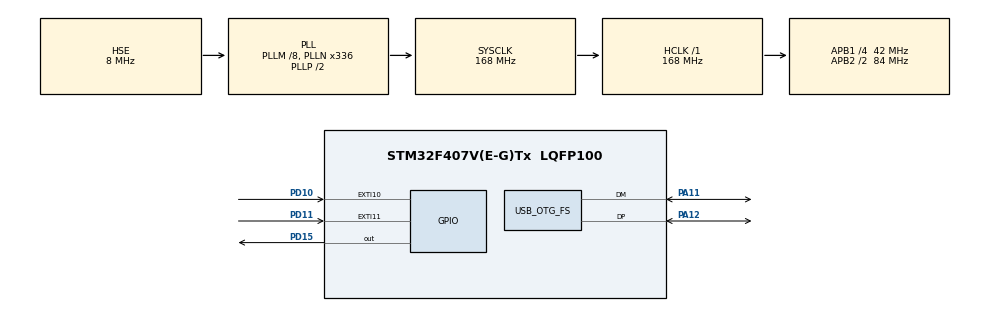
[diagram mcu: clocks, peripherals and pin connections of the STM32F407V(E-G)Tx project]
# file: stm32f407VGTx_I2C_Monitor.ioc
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FREERTOS.Tasks01=defaultTask,0,128,StartDefaultTask,Default,NULL
Mcu.Family=STM32F4
Mcu.Name=STM32F407V(E-G)Tx
Mcu.Package=LQFP100
NVIC.EXTI15_10_IRQn=true\:5\:0\:false\:false\:true\:true\:true\:true
NVIC.OTG_FS_IRQn=true\:5\:0\:false\:false\:true\:true\:false\:true
NVIC.PriorityGroup=NVIC_PRIORITYGROUP_4
NVIC.TIM6_DAC_IRQn=true\:0\:0\:false\:false\:true\:false\:false\:true
NVIC.TimeBase=TIM6_DAC_IRQn
NVIC.TimeBaseIP=TIM6
PA11.Mode=Device_Only
PA11.Signal=USB_OTG_FS_DM
PA12.Mode=Device_Only
PA12.Signal=USB_OTG_FS_DP
PD10.GPIO_ModeDefaultEXTI=GPIO_MODE_IT_RISING_FALLING
PD10.Signal=GPXTI10
PD11.GPIO_ModeDefaultEXTI=GPIO_MODE_IT_RISING
PD11.GPIO_PuPd=GPIO_NOPULL
PD11.Signal=GPXTI11
PD15.Signal=GPIO_Output
PH0-OSC_IN.Mode=HSE-External-Oscillator
PH0-OSC_IN.Signal=RCC_OSC_IN
PH1-OSC_OUT.Mode=HSE-External-Oscillator
PH1-OSC_OUT.Signal=RCC_OSC_OUT
ProjectManager.HeapSize=0x200
ProjectManager.StackSize=0x400
ProjectManager.TargetToolchain=TrueSTUDIO
RCC.48MHZClocksFreq_Value=48000000
RCC.AHBFreq_Value=168000000
RCC.APB1CLKDivider=RCC_HCLK_DIV4
RCC.APB1Freq_Value=42000000
RCC.APB1TimFreq_Value=84000000
RCC.APB2CLKDivider=RCC_HCLK_DIV2
RCC.APB2Freq_Value=84000000
RCC.APB2TimFreq_Value=168000000
RCC.CortexFreq_Value=168000000
RCC.HCLKFreq_Value=168000000
RCC.HSE_VALUE=8000000
RCC.HSI_VALUE=16000000
RCC.LSE_VALUE=32768
RCC.PLLM=8
RCC.PLLN=336
RCC.PLLQ=7
RCC.SYSCLKFreq_VALUE=168000000
RCC.SYSCLKSource=RCC_SYSCLKSOURCE_PLLCLK
RCC.VCOOutputFreq_Value=336000000
USB_DEVICE.CLASS_NAME_FS=CDC
USB_DEVICE.VirtualMode-CDC_FS=Cdc
USB_DEVICE.VirtualModeFS=Cdc_FS
USB_OTG_FS.VirtualMode=Device_Only
VP_FREERTOS_VS_CMSIS_V1.Mode=CMSIS_V1
VP_SYS_VS_tim6.Mode=TIM6
VP_USB_DEVICE_VS_USB_DEVICE_CDC_FS.Mode=CDC_FS
board=STM32F407G-DISC1

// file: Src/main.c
/* USER CODE BEGIN Header */
/**
  ******************************************************************************
  * @file           : main.c
  * @brief          : Main program body
  ******************************************************************************
  * @attention
  *
  * <h2><center>&copy; Copyright (c) 2019 STMicroelectronics.
  * All rights reserved.</center></h2>
  *
  * This software component is licensed by ST under Ultimate Liberty license
  * SLA0044, the "License"; You may not use this file except in compliance with
  * the License. You may obtain a copy of the License at:
  *                             www.st.com/SLA0044
  *
  ******************************************************************************
  */
/* USER CODE END Header */

#include "main.h"
#include "cmsis_os.h"
#include "usb_device.h"

/* USER CODE BEGIN Includes */
#include "usbd_cdc_if.h"
#include "i2c_monitor.h"
#include "queue.h"
/* USER CODE END Includes */

/* USER CODE BEGIN PTD */
#define NUM_OF_I2C_BUFFER 5
#define USE_QUEUE
/* USER CODE END PTD */

/* USER CODE BEGIN PD */
#ifdef USE_QUEUE
struct i2c_dat_t {
	uint16_t len;
	void *pvData;
};
#endif
/* USER CODE END PD */

osThreadId defaultTaskHandle;
/* USER CODE BEGIN PV */
#ifdef USE_QUEUE
QueueHandle_t xQueue;
#endif
uint8_t buffer[1024];
uint8_t data[1024];
/* USER CODE END PV */

void SystemClock_Config(void);
static void MX_GPIO_Init(void);
void StartDefaultTask(void const * argument);

/* USER CODE BEGIN PFP */
static struct i2c_monitor_t i2c_mon;
/* USER CODE END PFP */

/* USER CODE BEGIN 0 */
void HAL_GPIO_EXTI_Callback(uint16_t GPIO_Pin)
{
	  i2c_mon.i2c_int_cb(&i2c_mon, GPIO_Pin);
}

/*
 * the ic2 driver will call this function when it detect the i2c stop condition
 * malloc and copy the data then send the buffer pointer to the queue
 */
static void i2c_callback(uint8_t *pbuf, uint16_t *plen) {
	portBASE_TYPE taskWoken;
	struct i2c_dat_t i2c_dat;
	uint8_t *pdata;

	//malloc a buffer to hold the i2c data.
	pdata = (uint8_t *)calloc(sizeof(uint8_t) * *plen, 0);

	//store the i2c data
	memcpy(pdata, pbuf, *plen);

	//save the len
	i2c_dat.len = *plen;

	//pointer to buffer
	i2c_dat.pvData = (void *)pdata;

	//only send pointer
	xQueueSendFromISR(xQueue, (void *)&i2c_dat, &taskWoken);
}

/*
 * this task receives i2c data and transmit to serial port
 */
static void vI2cTask(void *pagr) {
	struct i2c_dat_t i2c_dat;
	portBASE_TYPE taskWoken;
	while (1) {

		//wait until data in the queue
		if (xQueueReceiveFromISR(xQueue, (void *)&i2c_dat,  &taskWoken) == pdTRUE) {
			//point to i2c data
			uint8_t *pdata = (uint8_t *)i2c_dat.pvData;
			CDC_Transmit_FS(pdata, i2c_dat.len);
			//free the pointer, was created from i2c callback.
			free(i2c_dat.pvData);
		}
	}
}
/* USER CODE END 0 */

int main(void)
{

  /* MCU Configuration--------------------------------------------------------*/

  /* Reset of all peripherals, Initializes the Flash interface and the Systick. */
  HAL_Init();

  /* Configure the system clock */
  SystemClock_Config();

  /* Initialize all configured peripherals */
  MX_GPIO_Init();

  /* USER CODE BEGIN RTOS_QUEUES */
  /* add queues, ... */
#ifdef USE_QUEUE
  //allocate 5 pointer to the i2c buffer
  xQueue = xQueueCreate(NUM_OF_I2C_BUFFER, sizeof(struct i2c_dat_t));
#endif
  /* USER CODE END RTOS_QUEUES */

  /* Create the thread(s) */
  /* definition and creation of defaultTask */
  osThreadDef(defaultTask, StartDefaultTask, osPriorityNormal, 0, 128);
  defaultTaskHandle = osThreadCreate(osThread(defaultTask), NULL);

  /* USER CODE BEGIN RTOS_THREADS */
  /* add threads, ... */

  //create a i2c inst and passing the callback to receive i2c data
  i2c_mon_create(&i2c_mon, i2c_callback);
  //set SDA pin
  i2c_mon.sda_pin_set(&i2c_mon, GPIOD, GPIO_PIN_10);
  //set SCL pin
  i2c_mon.scl_pin_set(&i2c_mon, GPIOD, GPIO_PIN_11);
#ifdef USE_QUEUE
  xTaskCreate(vI2cTask, "i2c task", 5*128, 0, 1, 0);
#endif
  /* USER CODE END RTOS_THREADS */

  /* Start scheduler */
  osKernelStart();

  /* We should never get here as control is now taken by the scheduler */

  /* Infinite loop */
  while (1)
  {

  }
}

void SystemClock_Config(void)
{
  RCC_OscInitTypeDef RCC_OscInitStruct = {0};
  RCC_ClkInitTypeDef RCC_ClkInitStruct = {0};

  /** Configure the main internal regulator output voltage
  */
  __HAL_RCC_PWR_CLK_ENABLE();
  __HAL_PWR_VOLTAGESCALING_CONFIG(PWR_REGULATOR_VOLTAGE_SCALE1);
  /** Initializes the CPU, AHB and APB busses clocks
  */
  RCC_OscInitStruct.OscillatorType = RCC_OSCILLATORTYPE_HSE;
  RCC_OscInitStruct.HSEState = RCC_HSE_ON;
  RCC_OscInitStruct.PLL.PLLState = RCC_PLL_ON;
  RCC_OscInitStruct.PLL.PLLSource = RCC_PLLSOURCE_HSE;
  RCC_OscInitStruct.PLL.PLLM = 8;
  RCC_OscInitStruct.PLL.PLLN = 336;
  RCC_OscInitStruct.PLL.PLLP = RCC_PLLP_DIV2;
  RCC_OscInitStruct.PLL.PLLQ = 7;
  if (HAL_RCC_OscConfig(&RCC_OscInitStruct) != HAL_OK)
  {
    Error_Handler();
  }
  /** Initializes the CPU, AHB and APB busses clocks
  */
  RCC_ClkInitStruct.ClockType = RCC_CLOCKTYPE_HCLK|RCC_CLOCKTYPE_SYSCLK
                              |RCC_CLOCKTYPE_PCLK1|RCC_CLOCKTYPE_PCLK2;
  RCC_ClkInitStruct.SYSCLKSource = RCC_SYSCLKSOURCE_PLLCLK;
  RCC_ClkInitStruct.AHBCLKDivider = RCC_SYSCLK_DIV1;
  RCC_ClkInitStruct.APB1CLKDivider = RCC_HCLK_DIV4;
  RCC_ClkInitStruct.APB2CLKDivider = RCC_HCLK_DIV2;

  if (HAL_RCC_ClockConfig(&RCC_ClkInitStruct, FLASH_LATENCY_5) != HAL_OK)
  {
    Error_Handler();
  }
}

static void MX_GPIO_Init(void)
{
  GPIO_InitTypeDef GPIO_InitStruct = {0};

  /* GPIO Ports Clock Enable */
  __HAL_RCC_GPIOH_CLK_ENABLE();
  __HAL_RCC_GPIOD_CLK_ENABLE();
  __HAL_RCC_GPIOA_CLK_ENABLE();

  /*Configure GPIO pin Output Level */
  HAL_GPIO_WritePin(GPIOD, GPIO_PIN_15, GPIO_PIN_RESET);

  /*Configure GPIO pin : PD10 */
  GPIO_InitStruct.Pin = GPIO_PIN_10;
  GPIO_InitStruct.Mode = GPIO_MODE_IT_RISING_FALLING;
  GPIO_InitStruct.Pull = GPIO_NOPULL;
  HAL_GPIO_Init(GPIOD, &GPIO_InitStruct);

  /*Configure GPIO pin : PD11 */
  GPIO_InitStruct.Pin = GPIO_PIN_11;
  GPIO_InitStruct.Mode = GPIO_MODE_IT_RISING;
  GPIO_InitStruct.Pull = GPIO_NOPULL;
  HAL_GPIO_Init(GPIOD, &GPIO_InitStruct);

  /*Configure GPIO pin : PD15 */
  GPIO_InitStruct.Pin = GPIO_PIN_15;
  GPIO_InitStruct.Mode = GPIO_MODE_OUTPUT_PP;
  GPIO_InitStruct.Pull = GPIO_NOPULL;
  GPIO_InitStruct.Speed = GPIO_SPEED_FREQ_LOW;
  HAL_GPIO_Init(GPIOD, &GPIO_InitStruct);

  /* EXTI interrupt init*/
  HAL_NVIC_SetPriority(EXTI15_10_IRQn, 5, 0);
  HAL_NVIC_EnableIRQ(EXTI15_10_IRQn);

}

void StartDefaultTask(void const * argument)
{
  /* init code for USB_DEVICE */
  MX_USB_DEVICE_Init();
  /* USER CODE BEGIN 5 */
  //osDelay(5000);
  /* Infinite loop */
  for(;;)
  {
    osDelay(200);
    HAL_GPIO_TogglePin(GPIOD, GPIO_PIN_15);
  }
  /* USER CODE END 5 */
}

void HAL_TIM_PeriodElapsedCallback(TIM_HandleTypeDef *htim)
{
  if (htim->Instance == TIM6) {
    HAL_IncTick();
  }
}

void Error_Handler(void)
{
}

/************************ (C) COPYRIGHT STMicroelectronics *****END OF FILE****/
